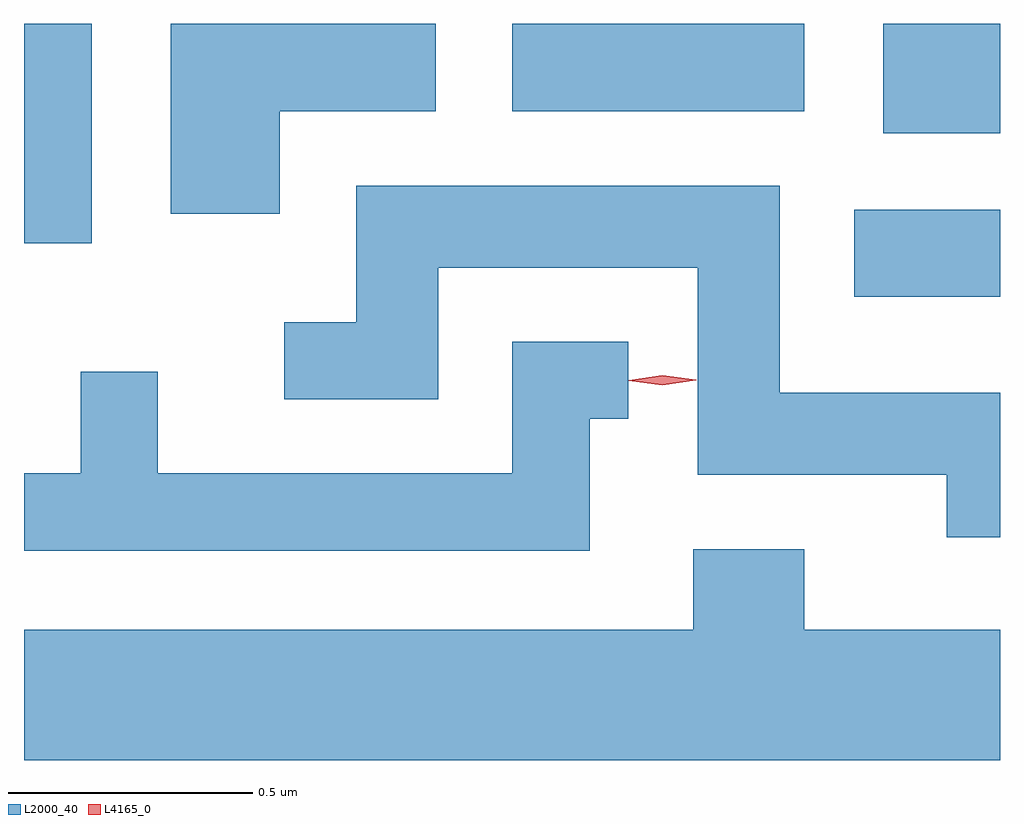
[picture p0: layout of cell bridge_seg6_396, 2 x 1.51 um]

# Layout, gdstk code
import gdstk
lib = gdstk.Library(unit=1e-6, precision=1e-09)
def R(c, l, rs):  # rectangles x0, y0, x1, y1
    for r in rs: c.add(gdstk.rectangle(r[:2], r[2:], *l))
def P(c, l, *ps):  # polygons
    for p in ps: c.add(gdstk.Polygon(p, *l))
L2000_40 = (2000, 40)
L4165_0 = (4165, 0)

bridge_seg6_396 = lib.new_cell('bridge_seg6_396')
R(bridge_seg6_396, L2000_40, [(943.801,1644.226,944.1,1644.404), (942.1,1644.336,942.239,1644.786), (943.861,1644.561,944.1,1644.786), (943.101,1644.606,943.699,1644.786)])
P(bridge_seg6_396, L2000_40, [(942.624,1644.606),(942.944,1644.606),(942.944,1644.786),(942.401,1644.786),(942.401,1644.396),(942.624,1644.396)],
  [(944.1,1644.029),(943.649,1644.029),(943.649,1644.454),(942.781,1644.454),(942.781,1644.174),(942.633,1644.174),(942.633,1644.016),(942.949,1644.016),(942.949,1644.286),(943.481,1644.286),(943.481,1643.861),(943.991,1643.861),(943.991,1643.733),(944.1,1643.733)],
  [(943.259,1643.976),(943.338,1643.976),(943.338,1644.134),(943.101,1644.134),(943.101,1643.864),(942.374,1643.864),(942.374,1644.073),(942.216,1644.073),(942.216,1643.864),(942.1,1643.864),(942.1,1643.706),(943.259,1643.706)],
  [(944.1,1643.544),(943.699,1643.544),(943.699,1643.709),(943.471,1643.709),(943.471,1643.544),(942.1,1643.544),(942.1,1643.276),(944.1,1643.276)])
P(bridge_seg6_396, L4165_0, [(943.408,1644.045),(943.339,1644.054),(943.339,1644.055),(943.339,1644.055),(943.408,1644.065),(943.478,1644.056),(943.478,1644.056),(943.478,1644.055)])

lib.write_gds('bridge_seg6_396.gds')
